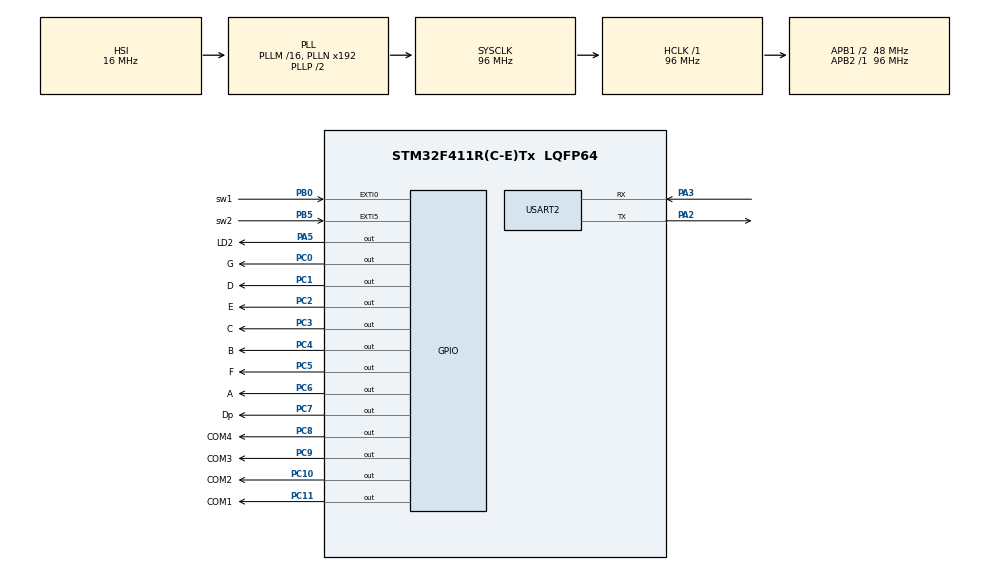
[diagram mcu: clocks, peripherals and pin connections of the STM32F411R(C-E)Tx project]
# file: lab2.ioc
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Mcu.Family=STM32F4
Mcu.Name=STM32F411R(C-E)Tx
Mcu.Package=LQFP64
NVIC.EXTI0_IRQn=true\:5\:0\:true\:false\:true\:true\:true\:true
NVIC.EXTI9_5_IRQn=true\:0\:0\:false\:false\:true\:true\:true\:true
NVIC.PriorityGroup=NVIC_PRIORITYGROUP_4
NVIC.TIM1_TRG_COM_TIM11_IRQn=true\:0\:0\:false\:false\:true\:true\:true\:true
NVIC.USART2_IRQn=true\:0\:0\:false\:false\:true\:true\:true\:true
PA2.Mode=Asynchronous
PA2.Signal=USART2_TX
PA3.Mode=Asynchronous
PA3.Signal=USART2_RX
PA5.GPIO_Label=LD2
PA5.Signal=GPIO_Output
PB0.GPIO_Label=sw1
PB0.GPIO_ModeDefaultEXTI=GPIO_MODE_IT_FALLING
PB0.GPIO_PuPd=GPIO_PULLUP
PB0.Signal=GPXTI0
PB5.GPIO_Label=sw2
PB5.GPIO_ModeDefaultEXTI=GPIO_MODE_IT_FALLING
PB5.GPIO_PuPd=GPIO_PULLUP
PB5.Signal=GPXTI5
PC0.GPIO_Label=G
PC0.Signal=GPIO_Output
PC1.GPIO_Label=D
PC1.Signal=GPIO_Output
PC10.GPIO_Label=COM2
PC10.Signal=GPIO_Output
PC11.GPIO_Label=COM1
PC11.Signal=GPIO_Output
PC2.GPIO_Label=E
PC2.Signal=GPIO_Output
PC3.GPIO_Label=C
PC3.Signal=GPIO_Output
PC4.GPIO_Label=B
PC4.Signal=GPIO_Output
PC5.GPIO_Label=F
PC5.Signal=GPIO_Output
PC6.GPIO_Label=A
PC6.Signal=GPIO_Output
PC7.GPIO_Label=Dp
PC7.Signal=GPIO_Output
PC8.GPIO_Label=COM4
PC8.Signal=GPIO_Output
PC9.GPIO_Label=COM3
PC9.Signal=GPIO_Output
ProjectManager.HeapSize=0x200
ProjectManager.StackSize=0x400
ProjectManager.TargetToolchain=STM32CubeIDE
RCC.AHBFreq_Value=96000000
RCC.APB1CLKDivider=RCC_HCLK_DIV2
RCC.APB1Freq_Value=48000000
RCC.APB1TimFreq_Value=96000000
RCC.APB2Freq_Value=96000000
RCC.APB2TimFreq_Value=96000000
RCC.CortexFreq_Value=96000000
RCC.HCLKFreq_Value=96000000
RCC.HSE_VALUE=25000000
RCC.HSI_VALUE=16000000
RCC.LSE_VALUE=32768
RCC.SYSCLKFreq_VALUE=96000000
RCC.SYSCLKSource=RCC_SYSCLKSOURCE_PLLCLK
RCC.VCOOutputFreq_Value=192000000
TIM11.Period=499
TIM11.Prescaler=400
USART2.VirtualMode=VM_ASYNC
VP_TIM11_VS_ClockSourceINT.Mode=Enable_Timer
board=custom

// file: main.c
/* USER CODE BEGIN Header */
/**
  ******************************************************************************
  * @file           : main.c
  * @brief          : Main program body
  ******************************************************************************
  * @attention
  *
  * Copyright (c) 2024 STMicroelectronics.
  * All rights reserved.
  *
  * This software is licensed under terms that can be found in the LICENSE file
  * in the root directory of this software component.
  * If no LICENSE file comes with this software, it is provided AS-IS.
  *
  ******************************************************************************
  */
/* USER CODE END Header */
#include "main.h"

/* USER CODE BEGIN Includes */
#include <stdio.h>
/* USER CODE END Includes */

/* USER CODE BEGIN PTD */
int liczba=0;
static uint8_t licznik_przerwan=0;
uint8_t tysiac, setka, dziesiatka, jednostka;
uint32_t current_time, last_but_press_time;
const int stala_FFFF = 0xFFFFFFFF;

volatile uint16_t cnt, buf_cnt;
volatile uint8_t buf_tx[100];
volatile uint8_t buf_rx[100];

/* USER CODE END PTD */

TIM_HandleTypeDef htim11;

UART_HandleTypeDef huart2;

void SystemClock_Config(void);
static void MX_GPIO_Init(void);
static void MX_TIM11_Init(void);
static void MX_USART2_UART_Init(void);
/* USER CODE BEGIN PFP */

void przelicz(uint16_t liczba)
{
	if (liczba < 10 && 0<liczba)
	      {jednostka=liczba;
	      }
	      else if (9 <liczba &&liczba < 100)
	      {
	          dziesiatka = liczba / 10;
	          jednostka = liczba % 10;

	      }
	      else if (99<liczba && liczba < 1000)
	      {
	          // Extract hundreds, tens, and units
	          setka = liczba / 100;
	          dziesiatka = (liczba / 10) % 10;
	          jednostka = liczba % 10;

	      }
	      else if(999< liczba && liczba < 9999)
	      {
	          // Extract thousands, hundreds, tens, and units
	          tysiac = liczba / 1000;
	          setka = (liczba / 100) % 10;
	          dziesiatka = (liczba / 10) % 10;
	          jednostka = liczba % 10;

	      }

}
void wypisz_liczbe(uint8_t cyfra)
{
      HAL_GPIO_WritePin(GPIOC, A_Pin | B_Pin | C_Pin | D_Pin | E_Pin | F_Pin | G_Pin | Dp_Pin, GPIO_PIN_RESET);

      switch (cyfra)
      {
          case 0:
              HAL_GPIO_WritePin(GPIOC, A_Pin | B_Pin | C_Pin | D_Pin | E_Pin | F_Pin, GPIO_PIN_SET);
              break;
          case 1:
              HAL_GPIO_WritePin(GPIOC, B_Pin | C_Pin, GPIO_PIN_SET);
              break;
          case 2:
              HAL_GPIO_WritePin(GPIOC, A_Pin | B_Pin | D_Pin | E_Pin | G_Pin, GPIO_PIN_SET);
              break;
          case 3:
              HAL_GPIO_WritePin(GPIOC, A_Pin | B_Pin | C_Pin | D_Pin | G_Pin, GPIO_PIN_SET);
              break;
          case 4:
              HAL_GPIO_WritePin(GPIOC, B_Pin | C_Pin | F_Pin | G_Pin, GPIO_PIN_SET);
              break;
          case 5:
              HAL_GPIO_WritePin(GPIOC, A_Pin | C_Pin | D_Pin | F_Pin | G_Pin, GPIO_PIN_SET);
              break;
          case 6:
              HAL_GPIO_WritePin(GPIOC, A_Pin | C_Pin | D_Pin | E_Pin | F_Pin | G_Pin, GPIO_PIN_SET);
              break;
          case 7:
              HAL_GPIO_WritePin(GPIOC, A_Pin | B_Pin | C_Pin, GPIO_PIN_SET);
              break;
          case 8:
              HAL_GPIO_WritePin(GPIOC, A_Pin | B_Pin | C_Pin | D_Pin | E_Pin | F_Pin | G_Pin, GPIO_PIN_SET);
              break;
          case 9:
              HAL_GPIO_WritePin(GPIOC, A_Pin | B_Pin | C_Pin | D_Pin | F_Pin | G_Pin, GPIO_PIN_SET);
              break;
          default:
              HAL_GPIO_WritePin(GPIOC, A_Pin | B_Pin | C_Pin | D_Pin | E_Pin | F_Pin | G_Pin | Dp_Pin, GPIO_PIN_RESET);
              break;
      }
  }

void wyb_com(uint8_t com)
  {
      HAL_GPIO_WritePin(GPIOC, COM1_Pin | COM2_Pin | COM3_Pin | COM4_Pin, GPIO_PIN_SET);

      switch (com)
      {
          case 3:
              HAL_GPIO_WritePin(GPIOC, COM1_Pin, GPIO_PIN_RESET);
              break;
          case 2:
              HAL_GPIO_WritePin(GPIOC, COM2_Pin, GPIO_PIN_RESET);
              break;
          case 1:
              HAL_GPIO_WritePin(GPIOC, COM3_Pin, GPIO_PIN_RESET);
              break;
          case 0:
              HAL_GPIO_WritePin(GPIOC, COM4_Pin, GPIO_PIN_RESET);
              break;
          default:
              return;
      }
      //
    //  void HAL_UART_RxCpltCallback(UART_HandleTypeDef *huart){
//      	if(buf_rx[0] >= 48 && buf_rx[0] <= 57){
//      		buf_cnt = snprintf((char*)buf_tx, sizeof(buf_tx), "Znak, %d,  cnt:%d\n", buf_rx[0], cnt);
//      		HAL_UART_Transmit_IT(&huart2, (uint8_t*)buf_tx, buf_cnt);
//      	}
//      	HAL_UART_Receive_IT(&huart2, (uint8_t*)buf_rx, 1);
//      }

  }

void HAL_TIM_PeriodElapsedCallback(TIM_HandleTypeDef *htim){
	if (htim->Instance == TIM11){
		if (licznik_przerwan>3)
		{
			licznik_przerwan=0;
		}

		if(licznik_przerwan==0)
				{
			wyb_com(0);
				wypisz_liczbe(jednostka);

				}
		else if(licznik_przerwan==1)
				{
			wyb_com(1);
				wypisz_liczbe(dziesiatka);

				}
		else if(licznik_przerwan==2)
				{
			wyb_com(2);
				wypisz_liczbe(setka);

				}
		else if(licznik_przerwan==3){
			wyb_com(3);
			wypisz_liczbe(tysiac);}
		licznik_przerwan=licznik_przerwan+1;

	}
}
void HAL_GPIO_EXTI_Callback(uint16_t GPIO_Pin)
{
uint16_t aktualny_stan, ostatnistan;
//static
	if(GPIO_Pin == sw1_Pin)
	{
		aktualny_stan=HAL_GPIO_ReadPin(sw1_GPIO_Port, sw1_Pin);
		if (aktualny_stan != ostatnistan)
		{
        current_time=HAL_GetTick();

        	if((current_time- last_but_press_time)>200 && (stala_FFFF -1)- current_time + last_but_press_time>500)
        	{
        		   liczba++;
        		   przelicz(liczba);
        	ostatnistan=aktualny_stan;
        	last_but_press_time=current_time;
		   }
	       }
       }

	if(GPIO_Pin == sw2_Pin)
		{
			aktualny_stan=HAL_GPIO_ReadPin(sw1_GPIO_Port, sw1_Pin);
			if (aktualny_stan != ostatnistan)
			{
	        current_time=HAL_GetTick();

	        	if((current_time- last_but_press_time)>200 && (stala_FFFF -1)- current_time + last_but_press_time>500)
	        	{
	        		   liczba--;
	        		   przelicz(liczba);
	        	ostatnistan=aktualny_stan;
	        	last_but_press_time=current_time;
			   }
		       }
	       }
}

HAL_UART_RxCpltCallback(UART_HandleTypeDef *huart)
{

	//
 HAL_UART_Receive_IT(huart, (uint8_t*)buf_rx, 1);
 if (buf_rx[0]>96 && buf_rx[0]<123)
		 {
	 buf_cnt = snprintf((char*)buf_tx,sizeof(buf_tx) ,"Napis nr= %d, ASCII=%d, litera=%c \n", cnt, buf_rx[0], (char)buf_rx[0]);
		 }
 else
 {
	 buf_cnt = snprintf((char*)buf_tx,sizeof(buf_tx) ,"Podales liczbe, pod ktora nie kryje sie mala litera, %d\n", buf_rx[0]);

 }
 HAL_UART_Transmit_IT(&huart2, (uint8_t*)buf_tx, buf_cnt);
 HAL_UART_Receive_IT(huart, (uint8_t*)buf_rx, 1);

}
/* USER CODE END PFP */
//echo wybircze
//odyslamy tylko male litery
//wyslamy z komputera mala litere i odylamy malo litere wraz z kodem asci
//jezli nie mala litera to napisa jkias inny

int main(void)
{

  /* MCU Configuration--------------------------------------------------------*/

  /* Reset of all peripherals, Initializes the Flash interface and the Systick. */
  HAL_Init();

  /* Configure the system clock */
  SystemClock_Config();

  /* Initialize all configured peripherals */
  MX_GPIO_Init();
  MX_TIM11_Init();
  MX_USART2_UART_Init();
  /* USER CODE BEGIN 2 */
HAL_TIM_Base_Start_IT(&htim11);

  /* USER CODE END 2 */

  /* Infinite loop */
  /* USER CODE BEGIN WHILE */

//buf_cnt = sprintf((char*) buf_tx, "Napis nr= %d\n", cnt);
//HAL_UART_Transmit_IT(&huart2, (uint8_t*)buf_tx, buf_cnt);

HAL_UART_Receive_IT(&huart2, (uint8_t*)buf_rx, 1);

  while (1)
  {
//port szeregowy zkomputera i od komputera
//poczytac port
//kod ascii
//w jakich trybach pracuje port szeregowy
//asynchornicznyy i niesynchroniczny
//start stopu bit parzystoci
	  // dma

	  cnt++;
	  HAL_Delay(250);

    /* USER CODE END WHILE */

  }
}

void SystemClock_Config(void)
{
  RCC_OscInitTypeDef RCC_OscInitStruct = {0};
  RCC_ClkInitTypeDef RCC_ClkInitStruct = {0};

  /** Configure the main internal regulator output voltage
  */
  __HAL_RCC_PWR_CLK_ENABLE();
  __HAL_PWR_VOLTAGESCALING_CONFIG(PWR_REGULATOR_VOLTAGE_SCALE1);

  /** Initializes the RCC Oscillators according to the specified parameters
  * in the RCC_OscInitTypeDef structure.
  */
  RCC_OscInitStruct.OscillatorType = RCC_OSCILLATORTYPE_HSI;
  RCC_OscInitStruct.HSIState = RCC_HSI_ON;
  RCC_OscInitStruct.HSICalibrationValue = RCC_HSICALIBRATION_DEFAULT;
  RCC_OscInitStruct.PLL.PLLState = RCC_PLL_ON;
  RCC_OscInitStruct.PLL.PLLSource = RCC_PLLSOURCE_HSI;
  RCC_OscInitStruct.PLL.PLLM = 16;
  RCC_OscInitStruct.PLL.PLLN = 192;
  RCC_OscInitStruct.PLL.PLLP = RCC_PLLP_DIV2;
  RCC_OscInitStruct.PLL.PLLQ = 4;
  if (HAL_RCC_OscConfig(&RCC_OscInitStruct) != HAL_OK)
  {
    Error_Handler();
  }

  /** Initializes the CPU, AHB and APB buses clocks
  */
  RCC_ClkInitStruct.ClockType = RCC_CLOCKTYPE_HCLK|RCC_CLOCKTYPE_SYSCLK
                              |RCC_CLOCKTYPE_PCLK1|RCC_CLOCKTYPE_PCLK2;
  RCC_ClkInitStruct.SYSCLKSource = RCC_SYSCLKSOURCE_PLLCLK;
  RCC_ClkInitStruct.AHBCLKDivider = RCC_SYSCLK_DIV1;
  RCC_ClkInitStruct.APB1CLKDivider = RCC_HCLK_DIV2;
  RCC_ClkInitStruct.APB2CLKDivider = RCC_HCLK_DIV1;

  if (HAL_RCC_ClockConfig(&RCC_ClkInitStruct, FLASH_LATENCY_3) != HAL_OK)
  {
    Error_Handler();
  }
}

static void MX_TIM11_Init(void)
{

  htim11.Instance = TIM11;
  htim11.Init.Prescaler = 400;
  htim11.Init.CounterMode = TIM_COUNTERMODE_UP;
  htim11.Init.Period = 499;
  htim11.Init.ClockDivision = TIM_CLOCKDIVISION_DIV1;
  htim11.Init.AutoReloadPreload = TIM_AUTORELOAD_PRELOAD_DISABLE;
  if (HAL_TIM_Base_Init(&htim11) != HAL_OK)
  {
    Error_Handler();
  }

}

static void MX_USART2_UART_Init(void)
{

  huart2.Instance = USART2;
  huart2.Init.BaudRate = 115200;
  huart2.Init.WordLength = UART_WORDLENGTH_8B;
  huart2.Init.StopBits = UART_STOPBITS_1;
  huart2.Init.Parity = UART_PARITY_NONE;
  huart2.Init.Mode = UART_MODE_TX_RX;
  huart2.Init.HwFlowCtl = UART_HWCONTROL_NONE;
  huart2.Init.OverSampling = UART_OVERSAMPLING_16;
  if (HAL_UART_Init(&huart2) != HAL_OK)
  {
    Error_Handler();
  }

}

static void MX_GPIO_Init(void)
{
  GPIO_InitTypeDef GPIO_InitStruct = {0};

  /* GPIO Ports Clock Enable */
  __HAL_RCC_GPIOC_CLK_ENABLE();
  __HAL_RCC_GPIOA_CLK_ENABLE();
  __HAL_RCC_GPIOB_CLK_ENABLE();

  /*Configure GPIO pin Output Level */
  HAL_GPIO_WritePin(GPIOC, G_Pin|D_Pin|E_Pin|C_Pin
                          |B_Pin|F_Pin|A_Pin|Dp_Pin
                          |COM4_Pin|COM3_Pin|COM2_Pin|COM1_Pin, GPIO_PIN_RESET);

  /*Configure GPIO pin Output Level */
  HAL_GPIO_WritePin(LD2_GPIO_Port, LD2_Pin, GPIO_PIN_RESET);

  /*Configure GPIO pins : G_Pin D_Pin E_Pin C_Pin
                           B_Pin F_Pin A_Pin Dp_Pin
                           COM4_Pin COM3_Pin COM2_Pin COM1_Pin */
  GPIO_InitStruct.Pin = G_Pin|D_Pin|E_Pin|C_Pin
                          |B_Pin|F_Pin|A_Pin|Dp_Pin
                          |COM4_Pin|COM3_Pin|COM2_Pin|COM1_Pin;
  GPIO_InitStruct.Mode = GPIO_MODE_OUTPUT_PP;
  GPIO_InitStruct.Pull = GPIO_NOPULL;
  GPIO_InitStruct.Speed = GPIO_SPEED_FREQ_LOW;
  HAL_GPIO_Init(GPIOC, &GPIO_InitStruct);

  /*Configure GPIO pin : LD2_Pin */
  GPIO_InitStruct.Pin = LD2_Pin;
  GPIO_InitStruct.Mode = GPIO_MODE_OUTPUT_PP;
  GPIO_InitStruct.Pull = GPIO_NOPULL;
  GPIO_InitStruct.Speed = GPIO_SPEED_FREQ_LOW;
  HAL_GPIO_Init(LD2_GPIO_Port, &GPIO_InitStruct);

  /*Configure GPIO pins : sw1_Pin sw2_Pin */
  GPIO_InitStruct.Pin = sw1_Pin|sw2_Pin;
  GPIO_InitStruct.Mode = GPIO_MODE_IT_FALLING;
  GPIO_InitStruct.Pull = GPIO_PULLUP;
  HAL_GPIO_Init(GPIOB, &GPIO_InitStruct);

  /* EXTI interrupt init*/
  HAL_NVIC_SetPriority(EXTI0_IRQn, 5, 0);
  HAL_NVIC_EnableIRQ(EXTI0_IRQn);

  HAL_NVIC_SetPriority(EXTI9_5_IRQn, 0, 0);
  HAL_NVIC_EnableIRQ(EXTI9_5_IRQn);

}

void Error_Handler(void)
{
  __disable_irq();
  while (1)
  {
  }
}
